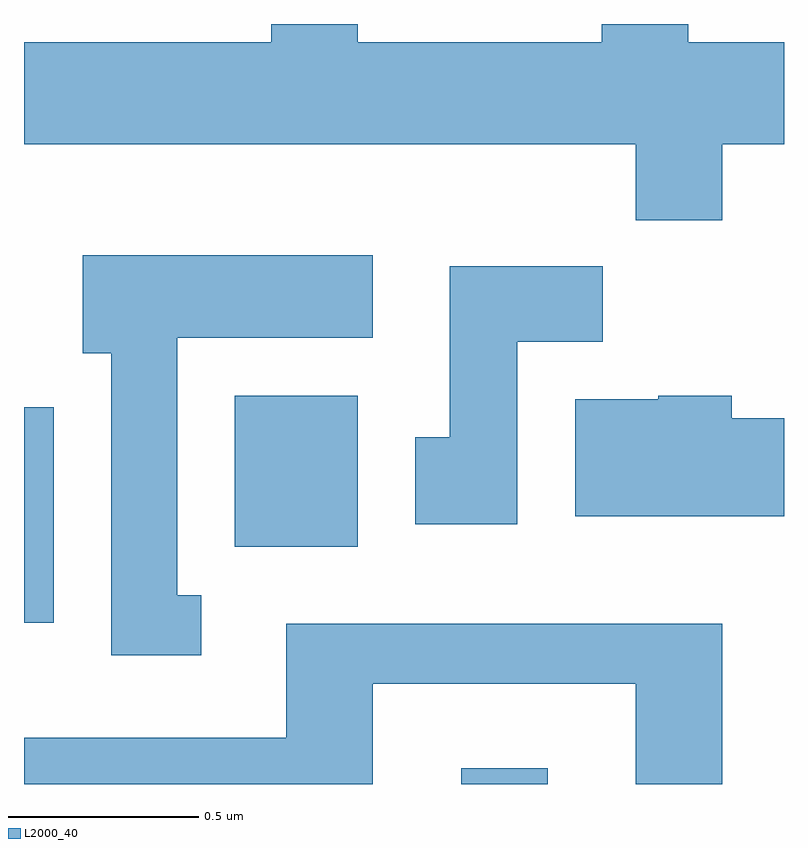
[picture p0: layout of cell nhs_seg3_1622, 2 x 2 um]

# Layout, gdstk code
import gdstk
lib = gdstk.Library(unit=1e-6, precision=1e-09)
def R(c, l, rs):  # rectangles x0, y0, x1, y1
    for r in rs: c.add(gdstk.rectangle(r[:2], r[2:], *l))
def P(c, l, *ps):  # polygons
    for p in ps: c.add(gdstk.Polygon(p, *l))
L2000_40 = (2000, 40)

nhs_seg3_1622 = lib.new_cell('nhs_seg3_1622')
R(nhs_seg3_1622, L2000_40, [(197.761,1230.892,197.989,1230.934), (196.611,1231.316,196.689,1231.884), (197.166,1231.516,197.489,1231.914)])
P(nhs_seg3_1622, L2000_40, [(198.449,1232.576),(198.611,1232.576),(198.611,1232.844),(198.359,1232.844),(198.359,1232.892),(198.131,1232.892),(198.131,1232.844),(197.489,1232.844),(197.489,1232.892),(197.261,1232.892),(197.261,1232.844),(196.611,1232.844),(196.611,1232.576),(198.221,1232.576),(198.221,1232.376),(198.449,1232.376)],
  [(197.078,1231.389),(197.014,1231.389),(197.014,1232.066),(197.529,1232.066),(197.529,1232.284),(196.766,1232.284),(196.766,1232.026),(196.841,1232.026),(196.841,1231.231),(197.078,1231.231)],
  [(197.909,1232.056),(198.134,1232.056),(198.134,1232.254),(197.731,1232.254),(197.731,1231.804),(197.641,1231.804),(197.641,1231.576),(197.909,1231.576)],
  [(198.611,1231.854),(198.474,1231.854),(198.474,1231.914),(198.28,1231.914),(198.28,1231.904),(198.061,1231.904),(198.061,1231.596),(198.611,1231.596)],
  [(197.529,1231.156),(198.221,1231.156),(198.221,1230.892),(198.449,1230.892),(198.449,1231.314),(197.301,1231.314),(197.301,1231.014),(196.611,1231.014),(196.611,1230.892),(197.529,1230.892)])

lib.write_gds('nhs_seg3_1622.gds')
